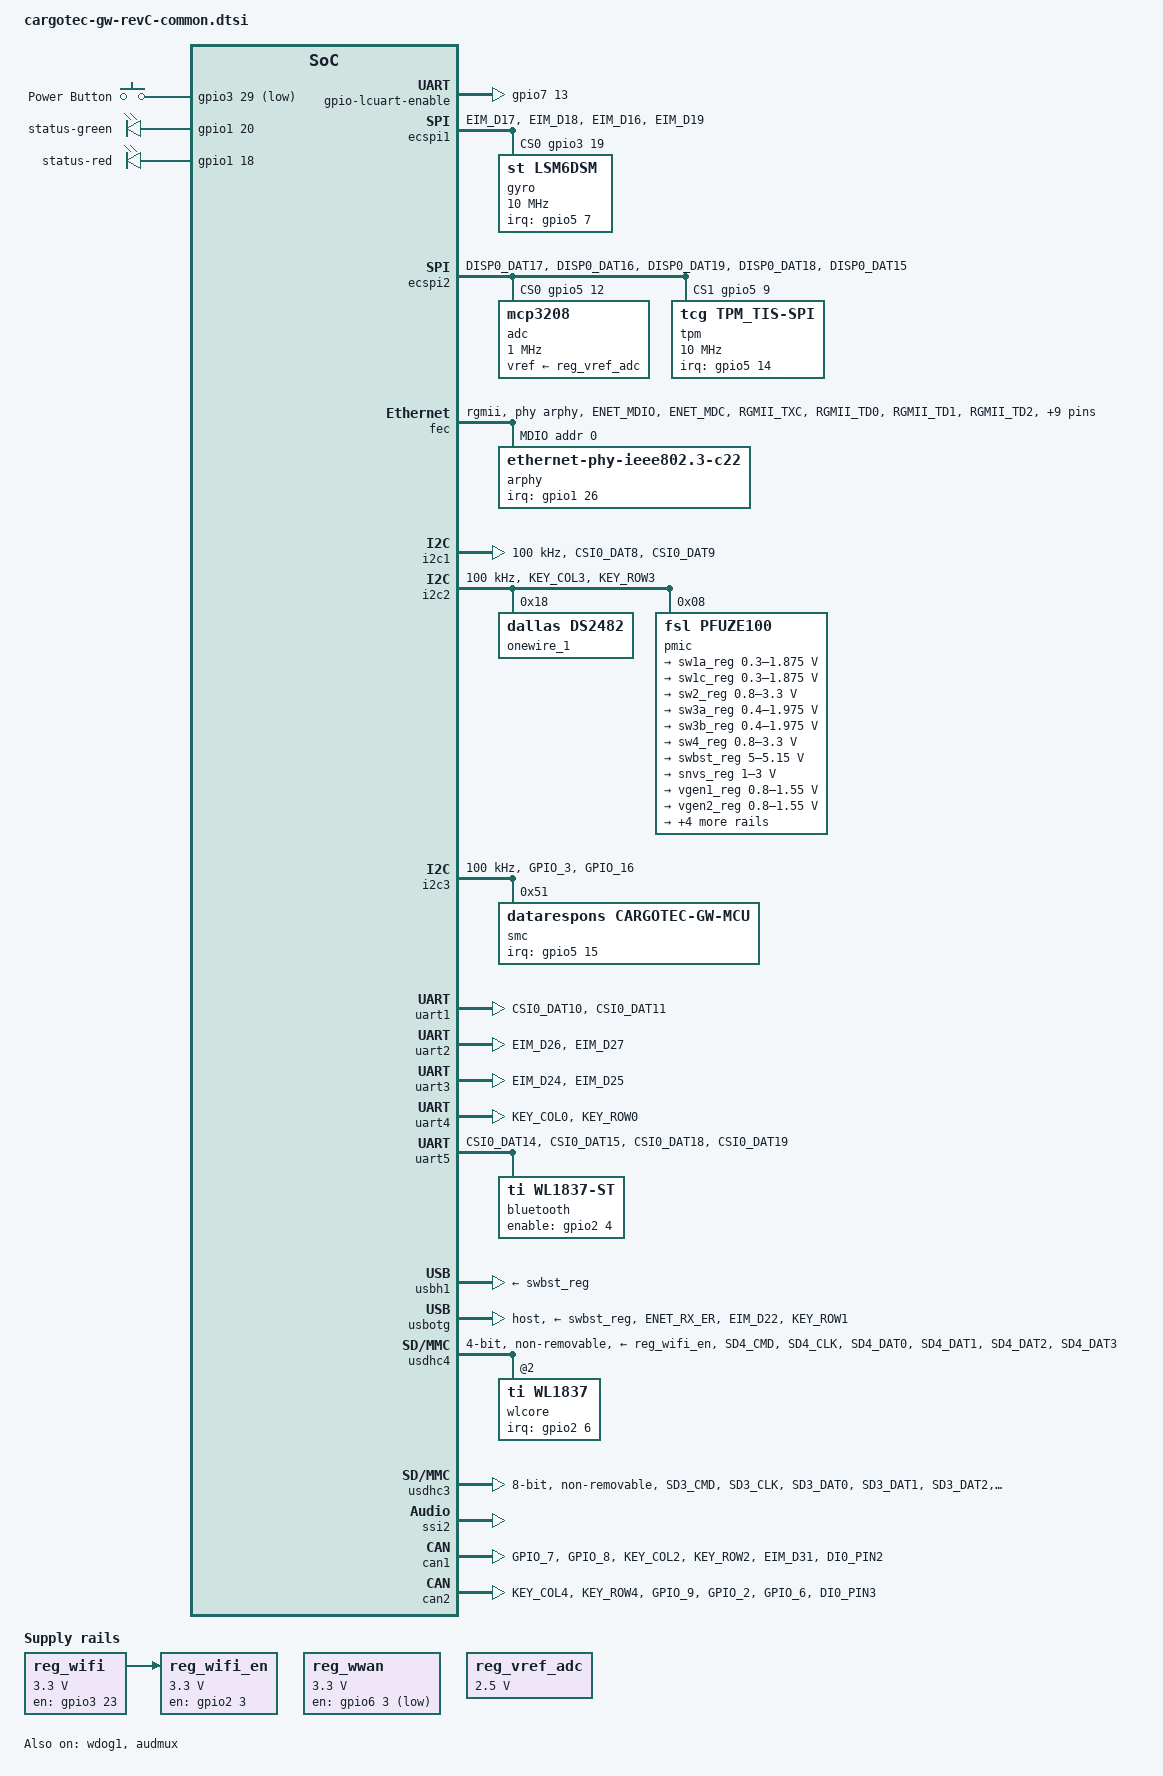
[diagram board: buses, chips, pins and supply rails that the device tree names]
/*
 * Copyright DATA RESPONS AS
 *
 * The code contained herein is licensed under the GNU General Public
 * License. You may obtain a copy of the GNU General Public License
 * Version 2 or later at the following locations:
 *
 * http://www.opensource.org/licenses/gpl-license.html
 * http://www.gnu.org/copyleft/gpl.html
 */


#include <dt-bindings/pwm/pwm.h>
#include <dt-bindings/gpio/gpio.h>

/ {
    aliases {
		rtc0 = &smc;
		rtc1 = &snvs_rtc;
	};

    regulators {
        compatible = "simple-bus";

        reg_wifi: wifi_pwr {
            compatible = "regulator-fixed";
            regulator-name = "reg_wifi";
            regulator-min-microvolt = <3300000>;
            regulator-max-microvolt = <3300000>;
            gpio = <&gpio3 23 0>;
            enable-active-high;
            regulator-always-on;
        };


        reg_wifi_en: wifi_enable {
            compatible = "regulator-fixed";
            regulator-name = "reg_wifi_enable";
            regulator-min-microvolt = <3300000>;
            regulator-max-microvolt = <3300000>;
            gpio = <&gpio2 3 0>;
            enable-active-high;
            vin-supply = <&reg_wifi>;
            startup-delay-us = <50000>;
        };

        reg_wwan: wwan_enable {
		compatible = "regulator-fixed";
            regulator-name = "reg_wwan_enable";
            regulator-min-microvolt = <3300000>;
            regulator-max-microvolt = <3300000>;
            gpio = <&gpio6 3 0>;
            enable-active-low;
            startup-delay-us = <300>;
            regulator-always-on;
        };


		reg_vref_adc: regulator-vref-adc {
			compatible = "regulator-fixed";
			regulator-name = "vref-adc";
			regulator-min-microvolt = <2500000>;
			regulator-max-microvolt = <2500000>;
		};

    };

    gpio-keys {
        compatible = "gpio-keys";
        power {
            label = "Power Button";
            gpios = <&gpio3 29 GPIO_ACTIVE_LOW>;
            linux,code = <116>; /* KEY_POWER */
            gpio-key,wakeup;
        };

    };

    leds {
	compatible = "gpio-leds";

	status-green {
		label = "status-green";
		gpios = <&gpio1 20 GPIO_ACTIVE_HIGH>;
	};

	status-red {
		label = "status-red";
		gpios = <&gpio1 18 GPIO_ACTIVE_HIGH>;
	};

    };

    user-gpios {

        gpio-hw-setting2 {
            gpios = <&gpio4 21 GPIO_ACTIVE_HIGH>;
            status = "okay";
        };

        gpio-hw-setting1 {
            gpios = <&gpio4 22 GPIO_ACTIVE_HIGH>;
            status = "okay";
        };

        gpio-hw-setting0 {
            gpios = <&gpio4 23 GPIO_ACTIVE_HIGH>;
            status = "okay";
        };


        gpio-can1-en {
            gpios = <&gpio4 10 GPIO_ACTIVE_HIGH>;
            status = "okay";
            value = <0>;
        };

        gpio-can1-stb {
		gpios = <&gpio4 12 GPIO_ACTIVE_LOW>;
		status = "okay";
		value = <1>;
        };

        gpio-can1-resen {
		gpios = <&gpio3 31 GPIO_ACTIVE_HIGH>;
		status = "okay";
		value = <0>;
        };

        gpio-can1-wake {
		gpios = <&gpio4 18 GPIO_ACTIVE_HIGH>;
		status = "okay";
		value = <1>;
        };

        gpio-can2-en {
            gpios = <&gpio1 9 GPIO_ACTIVE_HIGH>;
            status = "okay";
            value = <0>;
        };

        gpio-can2-stb {
		gpios = <&gpio1 2 GPIO_ACTIVE_LOW>;
		status = "okay";
		value = <1>;
        };

        gpio-can2-resen {
		gpios = <&gpio1 6 GPIO_ACTIVE_HIGH>;
		status = "okay";
		value = <0>;
        };
        gpio-can2-wake {
		gpios = <&gpio4 19 GPIO_ACTIVE_HIGH>;
		status = "okay";
		value = <1>;
        };

        gpio-phy-rst {
            gpios = <&gpio1 25 GPIO_ACTIVE_HIGH>;
            status = "okay";
            value = <1>;
        };

        gpio-tpm-nreset {
		gpios = <&gpio4 8 GPIO_ACTIVE_LOW>;
		status = "okay";
		value = <1>;
        };

        gpio-en-ani2 {
		gpios = <&gpio5 17 GPIO_ACTIVE_HIGH>;
		status = "okay";
		value = <0>;
        };

        gpio-en-ani1 {
		gpios = <&gpio5 16 GPIO_ACTIVE_HIGH>;
		status = "okay";
		value = <0>;
        };


        gpio-en-gpo1 {
		gpios = <&gpio4 24 GPIO_ACTIVE_HIGH>;
		status = "okay";
		value = <0>;
        };

        gpio-en-gpo2 {
		gpios = <&gpio4 25 GPIO_ACTIVE_HIGH>;
		status = "okay";
		value = <0>;
        };

        gpio-mcu-boot0 {
		gpios = <&gpio4 17 GPIO_ACTIVE_HIGH>;
		value = <0>;
		status = "okay";
        };

        gpio-gps-ant-en {
		gpios = <&gpio4 26 GPIO_ACTIVE_HIGH>;
		status = "okay";
		value = <0>;
        };

        gpio-nrst-wwan {
		gpios = <&gpio4 27 GPIO_ACTIVE_LOW>;
		status = "okay";
		value = <1>;
        };

        gpio-ndisable-wwan {
		gpios = <&gpio4 28 GPIO_ACTIVE_LOW>;
		status = "okay";
		value = <1>;
        };

        gpio-nwake-wwan {
		gpios = <&gpio4 29 GPIO_ACTIVE_LOW>;
		status = "okay";
        };

        gpio-led-wwan {
		gpios = <&gpio4 30 GPIO_ACTIVE_LOW>;
		status = "okay";
        };

        gpio-gpi1 {
		gpios = <&gpio1 12 GPIO_ACTIVE_HIGH>;
		status = "okay";
        };

        gpio-gpi2 {
		gpios = <&gpio1 14 GPIO_ACTIVE_HIGH>;
		status = "okay";
        };

        gpio-gpi3 {
		gpios = <&gpio1 13 GPIO_ACTIVE_HIGH>;
		status = "okay";
        };

        gpio-lcuart-enable {
		gpios = <&gpio7 13 GPIO_ACTIVE_HIGH>;
		value = <0>;
		status = "okay";
        };

        gpio-status-mcu {
		gpios = <&gpio4 31 GPIO_ACTIVE_HIGH>;
		status = "okay";
        };

        gpio-reset-mcu {
		gpios = <&gpio1 4 GPIO_ACTIVE_HIGH>;
		value = <0>;
		status = "okay";
        };

        gpio-buck5v-en {
		gpios = <&gpio6 2 GPIO_ACTIVE_HIGH>;
		value = <0>;
		status = "okay";
        };

        gpio-can1-err-n {
		gpios = <&gpio1 16 GPIO_ACTIVE_LOW>;
		status = "okay";
        };

        gpio-can2-err-n {
		gpios = <&gpio1 17 GPIO_ACTIVE_LOW>;
		status = "okay";
        };

    };

};


&ecspi1 {
    fsl,spi-num-chipselects = <1>;
    cs-gpios = <&gpio3 19 0>;
    pinctrl-names = "default";
    pinctrl-0 = <&pinctrl_ecspi1>;
    status = "okay";
    nodma;

	gyro: st-gyro-spi@0 {
		reg = <0>;
		compatible = "st,lsm6dsm";
		spi-max-frequency = <10000000>;
	interrupt-parent = <&gpio5>;
	interrupts = <7 IRQ_TYPE_EDGE_RISING>, <8 IRQ_TYPE_EDGE_RISING>;
	};
};

&ecspi2 {
    fsl,spi-num-chipselects = <2>;
    cs-gpios = <&gpio5 12 0 &gpio5 9 0>;
    pinctrl-names = "default";
    pinctrl-0 = <&pinctrl_ecspi2>;
    status = "okay";


    adc: mcp3208@0 {
	reg = <0>;
	compatible = "mcp3208";
	spi-max-frequency = <1000000>;
	vref-supply = <&reg_vref_adc>;
    };

    tpm: st33htpm-spi@1 {
	reg = <1>;
	compatible = "tcg,tpm_tis-spi";
	spi-max-frequency = <10000000>;
	interrupt-parent = <&gpio5>;
	interrupts = <14 0>;
    };
};

&fec {
    pinctrl-names = "default";
    pinctrl-0 = <&pinctrl_enet_ctgw>;
    phy-mode = "rgmii";
    /* phy-reset-gpios = <&gpio1 25 GPIO_ACTIVE_LOW>; */
    status = "okay";
    /* phy-supply = <&vgen6_reg>; */
    phy-handle = <&arphy>;
    mdio {
       #address-cells = <1>;
       #size-cells = <0>;
       arphy: ethernet-phy@0 {
           compatible = "ethernet-phy-ieee802.3-c22";
           reg = <0x0>;
           max-speed = <100>;
           interrupt-parent = <&gpio1>;
           interrupts = <26 IRQ_TYPE_EDGE_FALLING>;
       };
    };
};



&gpc {
    fsl,ldo-bypass = <0>; /* use ldo-bypass, u-boot will check it and configure */
};

&wdog1 {
    status = "okay";
};

&wdog2 {
    status = "okay";
    fsl,ext-reset-output;
    status = "disabled";
};



&i2c1 {
    clock-frequency = <100000>;
    pinctrl-names = "default";
    pinctrl-0 = <&pinctrl_i2c1>;
    status = "okay";

};

&i2c2 {
    clock-frequency = <100000>;
    pinctrl-names = "default";
    pinctrl-0 = <&pinctrl_i2c2>;
    status = "okay";

    onewire_1: ds2482@18 {
	reg = <0x18>;
	compatible = "dallas,ds2482";
    };

    pmic: pfuze100@08 {
        compatible = "fsl,pfuze100";
        reg = <0x08>;

        regulators {
            sw1a_reg: sw1ab {
                regulator-min-microvolt = <300000>;
                regulator-max-microvolt = <1875000>;
                regulator-boot-on;
                regulator-always-on;
                regulator-ramp-delay = <6250>;
            };

            sw1c_reg: sw1c {
                regulator-min-microvolt = <300000>;
                regulator-max-microvolt = <1875000>;
                regulator-boot-on;
                regulator-always-on;
                regulator-ramp-delay = <6250>;
            };

            sw2_reg: sw2 {
                regulator-min-microvolt = <800000>;
                regulator-max-microvolt = <3300000>;
                regulator-boot-on;
                regulator-always-on;
            };

            sw3a_reg: sw3a {
                regulator-min-microvolt = <400000>;
                regulator-max-microvolt = <1975000>;
                regulator-boot-on;
                regulator-always-on;
            };

            sw3b_reg: sw3b {
                regulator-min-microvolt = <400000>;
                regulator-max-microvolt = <1975000>;
                regulator-boot-on;
                regulator-always-on;
            };

            sw4_reg: sw4 {
                regulator-min-microvolt = <800000>;
                regulator-max-microvolt = <3300000>;
                regulator-boot-on;
                regulator-always-on;
            };

            swbst_reg: swbst {
                regulator-min-microvolt = <5000000>;
                regulator-max-microvolt = <5150000>;
                regulator-boot-on;
                regulator-always-on;
            };

            snvs_reg: vsnvs {
                regulator-min-microvolt = <1000000>;
                regulator-max-microvolt = <3000000>;
                regulator-boot-on;
                regulator-always-on;
            };

            vref_reg: vrefddr {
                regulator-boot-on;
                regulator-always-on;
            };

            vgen1_reg: vgen1 {
                regulator-min-microvolt = <800000>;
                regulator-max-microvolt = <1550000>;
            };

            vgen2_reg: vgen2 {
                regulator-min-microvolt = <800000>;
                regulator-max-microvolt = <1550000>;
            };

            vgen3_reg: vgen3 {
                regulator-min-microvolt = <1800000>;
                regulator-max-microvolt = <3300000>;
            };

            vgen4_reg: vgen4 {
                regulator-min-microvolt = <1800000>;
                regulator-max-microvolt = <3300000>;
                regulator-always-on;
            };

            vgen5_reg: vgen5 {
                regulator-min-microvolt = <1800000>;
                regulator-max-microvolt = <3300000>;
                regulator-always-on;
            };

            vgen6_reg: vgen6 {
                regulator-min-microvolt = <1800000>;
                regulator-max-microvolt = <3300000>;
                regulator-boot-on;
                regulator-always-on;
            };
        };
    };

};

&i2c3 {
    clock-frequency = <100000>;
    pinctrl-names = "default";
    pinctrl-0 = <&pinctrl_i2c3>;
    status = "okay";

	smc: cargotec_smc@51 {
        compatible = "datarespons,cargotec-gw-mcu";
        reg = <0x51>;
        interrupt-parent = <&gpio5>;
        interrupts = <15 IRQ_TYPE_EDGE_FALLING>;
        smc-gpios = "gpio_dc_on", "gpio_can_on", "gpi_ignition", "gpi_wakeup";
        smc-gpio-input = <0 0 1 1>;
        has-rtc;
    };
};


&iomuxc {
    pinctrl-names = "default";
    pinctrl-0 = <&pinctrl_hog_1>;

    hog {
        pinctrl_hog_1: hoggrp-1 {
            fsl,pins = <
		MX6QDL_PAD_DISP0_DAT0__GPIO4_IO21	0x80000000		/* HW Setting 0 */
		MX6QDL_PAD_DISP0_DAT1__GPIO4_IO22	0x80000000		/* HW Setting 1 */
		MX6QDL_PAD_DISP0_DAT2__GPIO4_IO23	0x80000000		/* HW Setting 2 */
                MX6QDL_PAD_GPIO_0__CCM_CLKO1        0x130b0         /* External audio clk */
                MX6QDL_PAD_GPIO_1__WDOG2_B	        0x00000070
                MX6QDL_PAD_GPIO_18__GPIO7_IO13      0x00000068		/* GP-EN--ISO_UART */
                MX6QDL_PAD_NANDF_RB0__GPIO6_IO10    0x0001b000      /* PMIC_INT_B */
                MX6QDL_PAD_NANDF_D3__GPIO2_IO03     0x00002070      /* WL_REG_ON (WiFI power) */
                MX6QDL_PAD_NANDF_D4__GPIO2_IO04     0x00002070      /* BT_REG_ON (Bluetooth power) */
                MX6QDL_PAD_NANDF_D5__GPIO2_IO05     0x80000000      /* WL_IRQ (NA) */
                MX6QDL_PAD_NANDF_D6__GPIO2_IO06     0x000100b1      /* GP--WL_HOST_WAKE (Wifi irq) */

                MX6QDL_PAD_EIM_D23__GPIO3_IO23      0x00000038      /* GP--WL_BAT_PWR_EN */
                MX6QDL_PAD_EIM_D29__GPIO3_IO29      0x0001b000      /* PPWR_BTN_SNS */
                MX6QDL_PAD_ENET_CRS_DV__GPIO1_IO25  0x80000000	    /* Phy reset (low) */
                MX6QDL_PAD_ENET_RXD1__GPIO1_IO26    0x80000000      /* Phy IRQ */
                MX6QDL_PAD_DISP0_DAT21__GPIO5_IO15	0x0001b000		/* GP_NINT_MCU */
                MX6QDL_PAD_DISP0_DAT23__GPIO5_IO17	0x00002060		/* EN_ANI2 */
                MX6QDL_PAD_DISP0_DAT22__GPIO5_IO16	0x00002060		/* EN_ANI1 */
                MX6QDL_PAD_DISP0_DAT5__GPIO4_IO26	0x00002060		/* GP_EN_PWR--ANT_GPS */
				MX6QDL_PAD_DISP0_DAT6__GPIO4_IO27	0x0000b0b0 		/* GP_nPRST_WWAN */
				MX6QDL_PAD_DISP0_DAT7__GPIO4_IO28	0x0000b0b0		/* GP_nDISABLE_WWAN   */
				MX6QDL_PAD_DISP0_DAT8__GPIO4_IO29	0x0000b0b0		/* GP_nWAKE_L--WWAN   */
				MX6QDL_PAD_DISP0_DAT9__GPIO4_IO30	0x00002060		/* LED_nWWAN   */
				MX6QDL_PAD_DISP0_DAT3__GPIO4_IO24	0x00000060		/* GP_EN--GPO1  */
				MX6QDL_PAD_DISP0_DAT4__GPIO4_IO25	0x00000060		/* GP_EN--GPO2  */
				MX6QDL_PAD_DISP0_DAT10__GPIO4_IO31 	0x1b060			/* GP_Status--CPU */
				MX6QDL_PAD_DISP0_DAT20__GPIO5_IO14 	0x1b040			/* TPM nIRQ */
	            MX6QDL_PAD_KEY_COL1__GPIO4_IO08 	0x1b060			/* TPM nRESET */
	            MX6QDL_PAD_DISP0_DAT13__GPIO5_IO07 	0x1b040			/* Gyro IRQ */
	            MX6QDL_PAD_DISP0_DAT14__GPIO5_IO08 	0x1b040			/* Gyro IRQ */
				MX6QDL_PAD_DISP0_DAT11__GPIO5_IO05 	0x1b040			/* RTC */
	            MX6QDL_PAD_DISP0_DAT12__GPIO5_IO06 	0x1b040			/* RTC */
                MX6QDL_PAD_SD2_DAT3__GPIO1_IO12     0x12000			/* GPI_1 */
                MX6QDL_PAD_SD2_DAT1__GPIO1_IO14     0x12000			/* GPI_2 */
                MX6QDL_PAD_SD2_DAT2__GPIO1_IO13     0x12000			/* GPI_3 */
                MX6QDL_PAD_GPIO_4__GPIO1_IO04		0x80000000		/* MCU_RESET (active high)*/
                MX6QDL_PAD_CSI0_DAT16__GPIO6_IO02	0x2070			/* GP-EN--BUCK_5V--CPU (active high) */
                MX6QDL_PAD_CSI0_DAT17__GPIO6_IO03	0x1b0b1			/* GP-PCIE_PWR_nEN (active low) */
                MX6QDL_PAD_DI0_PIN15__GPIO4_IO17	0x2070			/* MCU Boot select (active high) */
                MX6QDL_PAD_SD1_CMD__GPIO1_IO18		0x2070			/* GP_LED_R_STATUS */
                MX6QDL_PAD_SD1_CLK__GPIO1_IO20		0x2070			/* GP_LED_G_STATUS */
                MX6QDL_PAD_SD1_DAT0__GPIO1_IO16		0x80000000		/* CAN1_ERR_N */
                MX6QDL_PAD_SD1_DAT1__GPIO1_IO17		0x80000000		/* CAN2_ERR_N */
            >;
        };
    };


    ecspi1 {
        pinctrl_ecspi1: ecspi1grp {
            fsl,pins = <
                MX6QDL_PAD_EIM_D17__ECSPI1_MISO 0x100b1
                MX6QDL_PAD_EIM_D18__ECSPI1_MOSI 0x100b1
                MX6QDL_PAD_EIM_D16__ECSPI1_SCLK 0x100b1
                MX6QDL_PAD_EIM_D19__GPIO3_IO19  0x100b1
            >;
        };
    };

    ecspi2 {
        pinctrl_ecspi2: ecspi2grp {
            fsl,pins = <
                MX6QDL_PAD_DISP0_DAT17__ECSPI2_MISO  0x100b1
                MX6QDL_PAD_DISP0_DAT16__ECSPI2_MOSI 0x100b1
                MX6QDL_PAD_DISP0_DAT19__ECSPI2_SCLK 0x100b1
                MX6QDL_PAD_DISP0_DAT18__GPIO5_IO12  0x100b1
                MX6QDL_PAD_DISP0_DAT15__GPIO5_IO09  0x100b1
            >;
        };
    };

    flexcan1 {
	pinctrl_flexcan1: flexcan1grp {
		fsl,pins = <
			MX6QDL_PAD_GPIO_7__FLEXCAN1_TX 	0x1b0b1
			MX6QDL_PAD_GPIO_8__FLEXCAN1_RX	0x1b0b1
			MX6QDL_PAD_KEY_COL2__GPIO4_IO10	0x80000000		/* CAN1_EN */
		MX6QDL_PAD_KEY_ROW2__GPIO4_IO11	0x80000000		/* CAN1_STB */
		MX6QDL_PAD_EIM_D31__GPIO3_IO31  0x00000068		/* GP_CAN1_RES_EN */
		MX6QDL_PAD_DI0_PIN2__GPIO4_IO18	0x1b0b1			/* CAN1_WAKE */
		>;
	};
    };


	flexcan2 {
	pinctrl_flexcan2: flexcan2grp {
		fsl,pins = <
			MX6QDL_PAD_KEY_COL4__FLEXCAN2_TX 	0x1b0b1
			MX6QDL_PAD_KEY_ROW4__FLEXCAN2_RX	0x1b0b1
			MX6QDL_PAD_GPIO_9__GPIO1_IO09	0x80000000		/* CAN2_EN */
		MX6QDL_PAD_GPIO_2__GPIO1_IO02	0x80000000		/* CAN2_STB */
		MX6QDL_PAD_GPIO_6__GPIO1_IO06	0x00000068		/* CAN2_RES */
		MX6QDL_PAD_DI0_PIN3__GPIO4_IO19	0x1b0b1			/* CAN2_WAKE */
		>;
	};
    };

    uart1 {
        pinctrl_uart1: uart1grp {
            fsl,pins = <
                MX6QDL_PAD_CSI0_DAT10__UART1_TX_DATA    0x1b0b1
                MX6QDL_PAD_CSI0_DAT11__UART1_RX_DATA    0x1b0b1
            >;
        };
    };

    uart2 {
        pinctrl_uart2: uart2grp {
            fsl,pins = <
                MX6QDL_PAD_EIM_D26__UART2_TX_DATA    0x1b0b1
                MX6QDL_PAD_EIM_D27__UART2_RX_DATA    0x1b0b1
            >;
        };
    };

    uart3 {
        pinctrl_uart3: uart3grp {
            fsl,pins = <
                MX6QDL_PAD_EIM_D24__UART3_TX_DATA   0x1b0b1
                MX6QDL_PAD_EIM_D25__UART3_RX_DATA   0x1b0b1
            >;
        };
    };

    uart4 {
        pinctrl_uart4: uart4grp {
            fsl,pins = <
                MX6QDL_PAD_KEY_COL0__UART4_TX_DATA  0x1b0b1
                MX6QDL_PAD_KEY_ROW0__UART4_RX_DATA  0x1b0b1
            >;
        };
    };

    pwm1 {
        pinctrl_pwm1: pwm1grp {
            fsl,pins = <
                MX6QDL_PAD_SD1_DAT3__PWM1_OUT       0x1b0f1
            >;
        };
    };

    pwm2 {
        pinctrl_pwm2: pwm2grp {
            fsl,pins = <
                MX6QDL_PAD_SD1_DAT2__PWM2_OUT 0x1b0b1
            >;
        };
    };

    pwm3 {
        pinctrl_pwm3_lb: pwm3grp-lb {
            fsl,pins = <
                MX6QDL_PAD_SD1_DAT1__PWM3_OUT 0x1b0b1
            >;
        };
    };

    usbotg {
        pinctrl_usbotg: usbotggrp {
            fsl,pins = <
                MX6QDL_PAD_ENET_RX_ER__USB_OTG_ID   0x17059
                MX6QDL_PAD_EIM_D22__USB_OTG_PWR		0x80000000
                MX6QDL_PAD_KEY_ROW1__GPIO4_IO09		0x17059
            >;
        };
    };

    usdhc3 {
        pinctrl_usdhc3: usdhc3grp {
            fsl,pins = <
                MX6QDL_PAD_SD3_CMD__SD3_CMD     	0x17059
                MX6QDL_PAD_SD3_CLK__SD3_CLK     	0x10059
                MX6QDL_PAD_SD3_DAT0__SD3_DATA0      0x17059
                MX6QDL_PAD_SD3_DAT1__SD3_DATA1      0x17059
                MX6QDL_PAD_SD3_DAT2__SD3_DATA2      0x17059
                MX6QDL_PAD_SD3_DAT3__SD3_DATA3      0x17059
                MX6QDL_PAD_SD3_DAT4__SD3_DATA4      0x17059
                MX6QDL_PAD_SD3_DAT5__SD3_DATA5      0x17059
                MX6QDL_PAD_SD3_DAT6__SD3_DATA6      0x17059
                MX6QDL_PAD_SD3_DAT7__SD3_DATA7      0x17059
                MX6QDL_PAD_SD3_RST__SD3_RESET     	0x17059
            >;
        };
    };

    usdhc4 {
        pinctrl_usdhc4: usdhc4grp {
            fsl,pins = <
                MX6QDL_PAD_SD4_CMD__SD4_CMD     	0x17059
                MX6QDL_PAD_SD4_CLK__SD4_CLK     	0x10059
                MX6QDL_PAD_SD4_DAT0__SD4_DATA0      0x17059
                MX6QDL_PAD_SD4_DAT1__SD4_DATA1      0x17059
                MX6QDL_PAD_SD4_DAT2__SD4_DATA2      0x17059
                MX6QDL_PAD_SD4_DAT3__SD4_DATA3      0x17059
            >;
        };
    };

    audmux {
        pinctrl_audmux: audmuxgrp {
            fsl,pins = <
                MX6QDL_PAD_CSI0_DAT7__AUD3_RXD      0x130b0
                MX6QDL_PAD_CSI0_DAT4__AUD3_TXC      0x130b0
                MX6QDL_PAD_CSI0_DAT5__AUD3_TXD      0x110b0
                MX6QDL_PAD_CSI0_DAT6__AUD3_TXFS     0x130b0
            >;
        };
    };

    i2c1 {
        pinctrl_i2c1: i2c1grp {
            fsl,pins = <
                MX6QDL_PAD_CSI0_DAT8__I2C1_SDA      0x4001b8b1
                MX6QDL_PAD_CSI0_DAT9__I2C1_SCL      0x4001b8b1
            >;
        };
    };


    i2c2 {
        pinctrl_i2c2: i2c2grp {
            fsl,pins = <
                MX6QDL_PAD_KEY_COL3__I2C2_SCL 0x4001b8b1
                MX6QDL_PAD_KEY_ROW3__I2C2_SDA 0x4001b8b1
            >;
        };
    };

    i2c3 {
        pinctrl_i2c3: i2c3grp {
            fsl,pins = <
                MX6QDL_PAD_GPIO_3__I2C3_SCL 0x4001b8b1
                MX6QDL_PAD_GPIO_16__I2C3_SDA 0x4001b8b1
            >;
        };
    };

    enet {
        pinctrl_enet_ctgw: enetgrp-lb2 {
            fsl,pins = <
                MX6QDL_PAD_ENET_MDIO__ENET_MDIO       0x1b0b0
                MX6QDL_PAD_ENET_MDC__ENET_MDC         0x1b0b0
                MX6QDL_PAD_RGMII_TXC__RGMII_TXC       0x1b0b0
                MX6QDL_PAD_RGMII_TD0__RGMII_TD0       0x1b0b0
                MX6QDL_PAD_RGMII_TD1__RGMII_TD1       0x1b0b0
                MX6QDL_PAD_RGMII_TD2__RGMII_TD2       0x1b0b0
                MX6QDL_PAD_RGMII_TD3__RGMII_TD3       0x1b0b0
                MX6QDL_PAD_RGMII_TX_CTL__RGMII_TX_CTL 0x1b0b0
                MX6QDL_PAD_ENET_REF_CLK__ENET_TX_CLK  0x40000000
                MX6QDL_PAD_RGMII_RXC__RGMII_RXC       0x1b0b0
                MX6QDL_PAD_RGMII_RD0__RGMII_RD0       0x1b0b0
                MX6QDL_PAD_RGMII_RD1__RGMII_RD1       0x1b0b0
                MX6QDL_PAD_RGMII_RD2__RGMII_RD2       0x1b0b0
                MX6QDL_PAD_RGMII_RD3__RGMII_RD3       0x1b0b0
                MX6QDL_PAD_RGMII_RX_CTL__RGMII_RX_CTL 0x1b0b0
            >;
        };
    };

    uart5 {
        pinctrl_uart5_ctgw: uart5grp-ctgw {
        fsl,pins = <
            MX6QDL_PAD_CSI0_DAT14__UART5_TX_DATA 0x1b0b1
            MX6QDL_PAD_CSI0_DAT15__UART5_RX_DATA 0x1b0b1
            MX6QDL_PAD_CSI0_DAT18__UART5_RTS_B   0x1b0b1
            MX6QDL_PAD_CSI0_DAT19__UART5_CTS_B   0x1b0b1
        >;
        };

        pinctrl_uart5_dte_ctgw: uart5grp-dte_ctgw {
        fsl,pins = <
            MX6QDL_PAD_CSI0_DAT14__UART5_RX_DATA 0x1b0b1
            MX6QDL_PAD_CSI0_DAT15__UART5_TX_DATA 0x1b0b1
            MX6QDL_PAD_CSI0_DAT18__UART5_CTS_B   0x1b0b1
            MX6QDL_PAD_CSI0_DAT19__UART5_RTS_B   0x1b0b1
        >;
        };
    };
};

&ldb {
    status = "disabled";
};

&pcie {
    status = "disabled";
};

&uart1 {
    pinctrl-names = "default";
    pinctrl-0 = <&pinctrl_uart1>;
    status = "okay";
};

&uart2 {
	pinctrl-names = "default";
    pinctrl-0 = <&pinctrl_uart2>;
    status = "okay";
    nodma;
};

&uart3 {
    pinctrl-names = "default";
    pinctrl-0 = <&pinctrl_uart3>;
    status = "okay";
    nodma;
};

&uart4 {
    pinctrl-names = "default";
    pinctrl-0 = <&pinctrl_uart4>;
    status = "okay";
};


&uart5 {
    pinctrl-names = "default";
    pinctrl-0 = <&pinctrl_uart5_ctgw>;
    fsl,uart-has-rtscts;
    /* fsl,dte-mode; */
    status = "okay";

    bluetooth {
	compatible = "ti,wl1837-st";
	enable-gpios = <&gpio2 4 GPIO_ACTIVE_HIGH>;
	};

};

&usbh1 {
    vbus-supply = <&swbst_reg>;
    status = "okay";
};

&usbotg {
    pinctrl-names = "default";
    pinctrl-0 = <&pinctrl_usbotg>;
    status = "okay";
    vbus-supply = <&swbst_reg>;
    disable-over-current;
    dr_mode = "host";
};

&usdhc1 {
    status = "disabled";
};

&usdhc2 {
    status = "disabled";
};

&usdhc4 {
    pinctrl-names = "default";
    pinctrl-0 = <&pinctrl_usdhc4>;
    bus-width = <4>;
    non-removable;
    no-1-8-v;
	keep-power-in-suspend;
    cap-power-off-card;
	max-frequency = <25000000>;
	#address-cells = <1>;
	#size-cells = <0>;
	status = "okay";
	vmmc-supply = <&reg_wifi_en>;

	wlcore: wlcore@2 {
		compatible = "ti,wl1837";
		reg = <2>;
		interrupt-parent = <&gpio2>;
		interrupts = <6 IRQ_TYPE_LEVEL_HIGH>;
		tcxo-clock-frequency = <26000000>;
	};
};

&usdhc3 {
    pinctrl-names = "default";
    pinctrl-0 = <&pinctrl_usdhc3>;
    bus-width = <8>;
    non-removable;
    no-1-8-v;
    keep-power-in-suspend;
    status = "okay";
};


&pwm1 {
    status = "disabled";
};

&pwm2 {
    status = "disabled";
};

&pwm3 {
    status = "disabled";
};

&pwm4 {
    status = "disabled";
};

&audmux {
    pinctrl-names = "default";
    pinctrl-0 = <&pinctrl_audmux>;
    status = "okay";
};

&ssi2 {
    fsl,mode = "i2s-slave";
    status = "okay";
};

&ipu1 {
    status = "disabled";
};

&can1 {
	pinctrl-names = "default";
    pinctrl-0 = <&pinctrl_flexcan1>;
    status = "okay";
};

&can2 {
	pinctrl-names = "default";
    pinctrl-0 = <&pinctrl_flexcan2>;
    status = "okay";
};

&snvs_poweroff {
	status = "okay";
};
